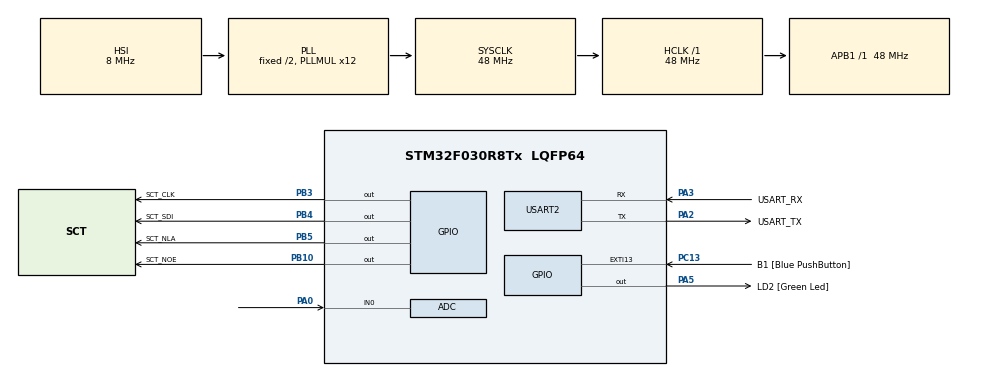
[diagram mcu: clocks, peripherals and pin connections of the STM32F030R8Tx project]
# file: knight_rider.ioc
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ADC.ContinuousConvMode=ENABLE
ADC.Overrun=ADC_OVR_DATA_OVERWRITTEN
ADC.SamplingTime=ADC_SAMPLETIME_239CYCLES_5
Mcu.Family=STM32F0
Mcu.Name=STM32F030R8Tx
Mcu.Package=LQFP64
NVIC.ADC1_IRQn=true\:0\:0\:false\:false\:true\:true\:true\:true
PA0.Mode=IN0
PA0.Signal=ADC_IN0
PA13.GPIO_Label=TMS
PA13.Mode=Serial_Wire
PA13.Signal=SYS_SWDIO
PA14.GPIO_Label=TCK
PA14.Mode=Serial_Wire
PA14.Signal=SYS_SWCLK
PA2.GPIO_Label=USART_TX
PA2.GPIO_Mode=GPIO_MODE_AF_PP
PA2.GPIO_PuPd=GPIO_NOPULL
PA2.GPIO_Speed=GPIO_SPEED_FREQ_LOW
PA2.Mode=Asynchronous
PA2.Signal=USART2_TX
PA3.GPIO_Label=USART_RX
PA3.GPIO_Mode=GPIO_MODE_AF_PP
PA3.GPIO_PuPd=GPIO_NOPULL
PA3.GPIO_Speed=GPIO_SPEED_FREQ_LOW
PA3.Mode=Asynchronous
PA3.Signal=USART2_RX
PA5.GPIO_Label=LD2 [Green Led]
PA5.GPIO_Mode=GPIO_MODE_OUTPUT_PP
PA5.GPIO_PuPd=GPIO_NOPULL
PA5.GPIO_Speed=GPIO_SPEED_FREQ_LOW
PA5.Signal=GPIO_Output
PB10.GPIO_Label=SCT_NOE
PB10.Signal=GPIO_Output
PB3.GPIO_Label=SCT_CLK
PB3.Signal=GPIO_Output
PB4.GPIO_Label=SCT_SDI
PB4.Signal=GPIO_Output
PB5.GPIO_Label=SCT_NLA
PB5.Signal=GPIO_Output
PC13.GPIO_Label=B1 [Blue PushButton]
PC13.GPIO_ModeDefaultEXTI=GPIO_MODE_IT_FALLING
PC13.Signal=GPXTI13
PC14-OSC32_IN.Mode=LSE-External-Oscillator
PC14-OSC32_IN.Signal=RCC_OSC32_IN
PC15-OSC32_OUT.Mode=LSE-External-Oscillator
PC15-OSC32_OUT.Signal=RCC_OSC32_OUT
PF0-OSC_IN.Mode=HSE-External-Clock-Source
PF0-OSC_IN.Signal=RCC_OSC_IN
PF1-OSC_OUT.Signal=RCC_OSC_OUT
ProjectManager.HeapSize=0x200
ProjectManager.StackSize=0x400
ProjectManager.TargetToolchain=STM32CubeIDE
RCC.AHBFreq_Value=48000000
RCC.APB1Freq_Value=48000000
RCC.APB1TimFreq_Value=48000000
RCC.HCLKFreq_Value=48000000
RCC.PLLMUL=RCC_PLL_MUL12
RCC.SYSCLKFreq_VALUE=48000000
RCC.SYSCLKSource=RCC_SYSCLKSOURCE_PLLCLK
USART2.VirtualMode-Asynchronous=VM_ASYNC
board=NUCLEO-F030R8

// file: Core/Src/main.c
/* USER CODE BEGIN Header */
/**
  ******************************************************************************
  * @file           : main.c
  * @brief          : Main program body
  ******************************************************************************
  * @attention
  *
  * Copyright (c) 2024 STMicroelectronics.
  * All rights reserved.
  *
  * This software is licensed under terms that can be found in the LICENSE file
  * in the root directory of this software component.
  * If no LICENSE file comes with this software, it is provided AS-IS.
  *
  ******************************************************************************
  */
/* USER CODE END Header */
#include "main.h"

/* USER CODE BEGIN Includes */
#include "sct.h"
/* USER CODE END Includes */

ADC_HandleTypeDef hadc;

UART_HandleTypeDef huart2;

/* USER CODE BEGIN PV */
volatile uint32_t raw_pot;
volatile uint16_t rescaled_pot;

/* USER CODE END PV */

void SystemClock_Config(void);
static void MX_GPIO_Init(void);
static void MX_USART2_UART_Init(void);
static void MX_ADC_Init(void);

int main(void)
{

  /* MCU Configuration--------------------------------------------------------*/

  /* Reset of all peripherals, Initializes the Flash interface and the Systick. */
  HAL_Init();

  /* Configure the system clock */
  SystemClock_Config();

  /* Initialize all configured peripherals */
  MX_GPIO_Init();
  MX_USART2_UART_Init();
  MX_ADC_Init();
  /* USER CODE BEGIN 2 */
  HAL_ADCEx_Calibration_Start(&hadc);
  HAL_ADC_Start_IT(&hadc);
  sct_init();
  HAL_Delay(1000);

  /* USER CODE END 2 */

  /* Infinite loop */
  while (1)
  {

	  /* USER CODE BEGIN 3 */
	  uint8_t ledID = 0b00000111;

	  for(uint8_t i = 1; i <= 7 ; i++)
	  {
		  sct_valueAndBar(rescaled_pot, ledID);
		  ledID <<= 1;
		  HAL_Delay(rescaled_pot);
	  }

	  for(uint8_t i = 1; i <= 2 ; i++)
	  {
		  sct_valueAndBar(rescaled_pot, ledID);
		  ledID |= (0b01000000 >> (i - 1));
		  HAL_Delay(rescaled_pot);
	  }

	  for(uint8_t i = 1; i <= 7; i++)
	  {
		  sct_valueAndBar(rescaled_pot, ledID);
		  ledID >>= 1;
		  HAL_Delay(rescaled_pot);
	  }

	  for(uint8_t i = 1; i <= 2 ; i++)
	  {
		  sct_valueAndBar(rescaled_pot, ledID);
		  ledID |= 0b0000010;
		  HAL_Delay(rescaled_pot);
	  }

  }
  /* USER CODE END 3 */
}

void SystemClock_Config(void)
{
  RCC_OscInitTypeDef RCC_OscInitStruct = {0};
  RCC_ClkInitTypeDef RCC_ClkInitStruct = {0};

  /** Initializes the RCC Oscillators according to the specified parameters
  * in the RCC_OscInitTypeDef structure.
  */
  RCC_OscInitStruct.OscillatorType = RCC_OSCILLATORTYPE_HSI|RCC_OSCILLATORTYPE_HSI14;
  RCC_OscInitStruct.HSIState = RCC_HSI_ON;
  RCC_OscInitStruct.HSI14State = RCC_HSI14_ON;
  RCC_OscInitStruct.HSICalibrationValue = RCC_HSICALIBRATION_DEFAULT;
  RCC_OscInitStruct.HSI14CalibrationValue = 16;
  RCC_OscInitStruct.PLL.PLLState = RCC_PLL_ON;
  RCC_OscInitStruct.PLL.PLLSource = RCC_PLLSOURCE_HSI;
  RCC_OscInitStruct.PLL.PLLMUL = RCC_PLL_MUL12;
  RCC_OscInitStruct.PLL.PREDIV = RCC_PREDIV_DIV1;
  if (HAL_RCC_OscConfig(&RCC_OscInitStruct) != HAL_OK)
  {
    Error_Handler();
  }

  /** Initializes the CPU, AHB and APB buses clocks
  */
  RCC_ClkInitStruct.ClockType = RCC_CLOCKTYPE_HCLK|RCC_CLOCKTYPE_SYSCLK
                              |RCC_CLOCKTYPE_PCLK1;
  RCC_ClkInitStruct.SYSCLKSource = RCC_SYSCLKSOURCE_PLLCLK;
  RCC_ClkInitStruct.AHBCLKDivider = RCC_SYSCLK_DIV1;
  RCC_ClkInitStruct.APB1CLKDivider = RCC_HCLK_DIV1;

  if (HAL_RCC_ClockConfig(&RCC_ClkInitStruct, FLASH_LATENCY_1) != HAL_OK)
  {
    Error_Handler();
  }
}

static void MX_ADC_Init(void)
{

  ADC_ChannelConfTypeDef sConfig = {0};

  /** Configure the global features of the ADC (Clock, Resolution, Data Alignment and number of conversion)
  */
  hadc.Instance = ADC1;
  hadc.Init.ClockPrescaler = ADC_CLOCK_ASYNC_DIV1;
  hadc.Init.Resolution = ADC_RESOLUTION_12B;
  hadc.Init.DataAlign = ADC_DATAALIGN_RIGHT;
  hadc.Init.ScanConvMode = ADC_SCAN_DIRECTION_FORWARD;
  hadc.Init.EOCSelection = ADC_EOC_SINGLE_CONV;
  hadc.Init.LowPowerAutoWait = DISABLE;
  hadc.Init.LowPowerAutoPowerOff = DISABLE;
  hadc.Init.ContinuousConvMode = ENABLE;
  hadc.Init.DiscontinuousConvMode = DISABLE;
  hadc.Init.ExternalTrigConv = ADC_SOFTWARE_START;
  hadc.Init.ExternalTrigConvEdge = ADC_EXTERNALTRIGCONVEDGE_NONE;
  hadc.Init.DMAContinuousRequests = DISABLE;
  hadc.Init.Overrun = ADC_OVR_DATA_OVERWRITTEN;
  if (HAL_ADC_Init(&hadc) != HAL_OK)
  {
    Error_Handler();
  }

  /** Configure for the selected ADC regular channel to be converted.
  */
  sConfig.Channel = ADC_CHANNEL_0;
  sConfig.Rank = ADC_RANK_CHANNEL_NUMBER;
  sConfig.SamplingTime = ADC_SAMPLETIME_239CYCLES_5;
  if (HAL_ADC_ConfigChannel(&hadc, &sConfig) != HAL_OK)
  {
    Error_Handler();
  }

}

static void MX_USART2_UART_Init(void)
{

  huart2.Instance = USART2;
  huart2.Init.BaudRate = 38400;
  huart2.Init.WordLength = UART_WORDLENGTH_8B;
  huart2.Init.StopBits = UART_STOPBITS_1;
  huart2.Init.Parity = UART_PARITY_NONE;
  huart2.Init.Mode = UART_MODE_TX_RX;
  huart2.Init.HwFlowCtl = UART_HWCONTROL_NONE;
  huart2.Init.OverSampling = UART_OVERSAMPLING_16;
  huart2.Init.OneBitSampling = UART_ONE_BIT_SAMPLE_DISABLE;
  huart2.AdvancedInit.AdvFeatureInit = UART_ADVFEATURE_NO_INIT;
  if (HAL_UART_Init(&huart2) != HAL_OK)
  {
    Error_Handler();
  }

}

static void MX_GPIO_Init(void)
{
  GPIO_InitTypeDef GPIO_InitStruct = {0};

  /* GPIO Ports Clock Enable */
  __HAL_RCC_GPIOC_CLK_ENABLE();
  __HAL_RCC_GPIOF_CLK_ENABLE();
  __HAL_RCC_GPIOA_CLK_ENABLE();
  __HAL_RCC_GPIOB_CLK_ENABLE();

  /*Configure GPIO pin Output Level */
  HAL_GPIO_WritePin(LD2_GPIO_Port, LD2_Pin, GPIO_PIN_RESET);

  /*Configure GPIO pin Output Level */
  HAL_GPIO_WritePin(GPIOB, SCT_NOE_Pin|SCT_CLK_Pin|SCT_SDI_Pin|SCT_NLA_Pin, GPIO_PIN_RESET);

  /*Configure GPIO pin : B1_Pin */
  GPIO_InitStruct.Pin = B1_Pin;
  GPIO_InitStruct.Mode = GPIO_MODE_IT_FALLING;
  GPIO_InitStruct.Pull = GPIO_NOPULL;
  HAL_GPIO_Init(B1_GPIO_Port, &GPIO_InitStruct);

  /*Configure GPIO pin : LD2_Pin */
  GPIO_InitStruct.Pin = LD2_Pin;
  GPIO_InitStruct.Mode = GPIO_MODE_OUTPUT_PP;
  GPIO_InitStruct.Pull = GPIO_NOPULL;
  GPIO_InitStruct.Speed = GPIO_SPEED_FREQ_LOW;
  HAL_GPIO_Init(LD2_GPIO_Port, &GPIO_InitStruct);

  /*Configure GPIO pins : SCT_NOE_Pin SCT_CLK_Pin SCT_SDI_Pin SCT_NLA_Pin */
  GPIO_InitStruct.Pin = SCT_NOE_Pin|SCT_CLK_Pin|SCT_SDI_Pin|SCT_NLA_Pin;
  GPIO_InitStruct.Mode = GPIO_MODE_OUTPUT_PP;
  GPIO_InitStruct.Pull = GPIO_NOPULL;
  GPIO_InitStruct.Speed = GPIO_SPEED_FREQ_LOW;
  HAL_GPIO_Init(GPIOB, &GPIO_InitStruct);

}

/* USER CODE BEGIN 4 */
void HAL_ADC_ConvCpltCallback(ADC_HandleTypeDef* hadc)
{
	raw_pot = HAL_ADC_GetValue(hadc);
	rescaled_pot = (raw_pot * 481) / 4096 + 20;
}

/* USER CODE END 4 */

void Error_Handler(void)
{
  __disable_irq();
  while (1)
  {
  }
}
